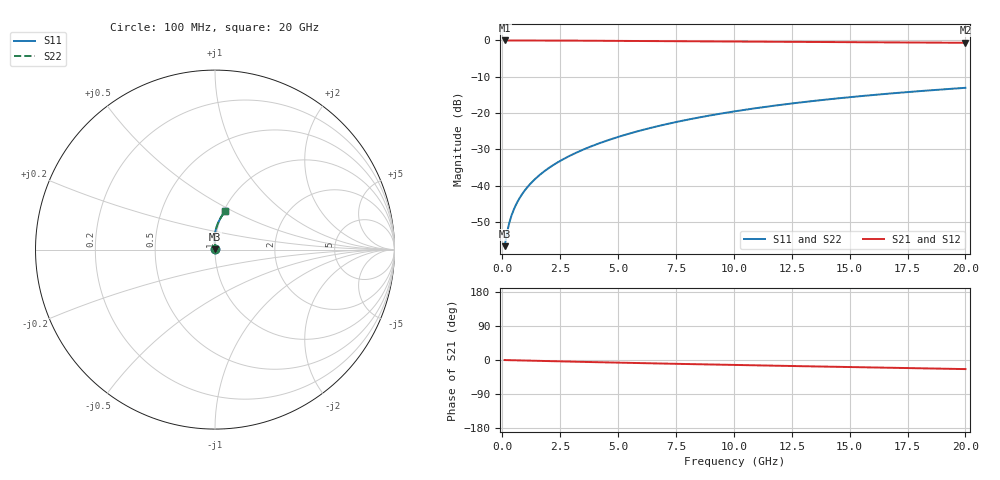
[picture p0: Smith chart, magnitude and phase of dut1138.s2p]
! Touchstone file exported from HFSS 2024.1.0
!  File:  C:/UserFiles/LocalFiles/RDL_TSV_Batchsim/temp_RDL_bottom_1138_1780055538.aedt
!  Generated:  07:54:31 PM May 29, 2026
!  Design:  RDL_bottom
!  Project:  temp_RDL_bottom_1138_1780055538
!  Setup:  Setup1
!  Solution:  Sweep
! Variables:
!  dtsv = 10.80580581um
!  hbump = 3um
!  htsv = 95.48um
!  ldown = 324.03um
!  lrdl = 100um
!  p = 40
!  p1 = 56.03um
!  rhole = 1um
!  t = 450um
!  tdown = 4.46um
!  trdl = 3.915915916um
!  wdown = 28.39um
!  wrdl = 20um
# GHz S MA R 50.000000
! Terminal data exported
! Port[1] = RDL1_T1
! Port[2] = RDL1_T2
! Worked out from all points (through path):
!   200 points, 100 MHz to 20 GHz, reference 50 ohm
!   highest |S21| = -0.01 dB at 100 MHz (marker M1); lowest = -0.7 dB at 20 GHz (marker M2)
!   group delay of S21, straight-line fit = 3.28 ps
!   lowest |S11| = -56.6 dB at 100 MHz (marker M3), VSWR 1.00, Z = 50.1 + j0.0971 ohm
!   |S11| at or under -10 dB: start of sweep to end of sweep
!   |S22| runs from -56.6 to -13.0 dB; largest |S21 - S12| = 3.1e-15
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0.1  0.001474 41.1  0.9989 -0.2  0.9989 -0.2  0.001474 41.1
! Gamma 0 0 0 0
! Port Impedance 50 0 50 0
0.2  0.002239 58.6  0.9988 -0.3  0.9988 -0.3  0.002239 58.6
0.3  0.003073 66.3  0.9987 -0.5  0.9987 -0.5  0.003073 66.3
0.4  0.003908 70.7  0.9986 -0.6  0.9986 -0.6  0.003908 70.7
0.5  0.004735 73.7  0.9985 -0.7  0.9985 -0.7  0.004735 73.7
0.6  0.005558 75.9  0.9984 -0.9  0.9984 -0.9  0.005557 75.9
0.8  0.007202 79.2  0.9982 -1.2  0.9982 -1.2  0.007202 79.1
1.1  0.009697 82.4  0.9978 -1.6  0.9978 -1.6  0.009697 82.4
1.3  0.01139 84.0  0.9975 -1.9  0.9975 -1.9  0.01139 84.0
1.6  0.01396 85.9  0.9969 -2.3  0.9969 -2.3  0.01396 85.9
2.1  0.01836 88.0  0.9958 -3.0  0.9958 -3.0  0.01836 88.0
2.7  0.02383 89.7  0.9942 -3.9  0.9942 -3.9  0.02383 89.7
3.5  0.03149 91.1  0.9916 -5.0  0.9916 -5.0  0.03149 91.1
4.2  0.03853 91.8  0.989 -5.9  0.989 -5.9  0.03853 91.8
5  0.04694 92.2  0.9859 -7.0  0.9859 -7.0  0.04694 92.1
6.8  0.06707 91.6  0.9783 -9.2  0.9783 -9.2  0.06706 91.6
8.4  0.08592 90.2  0.9716 -11.2  0.9716 -11.2  0.08591 90.2
10.1  0.1064 88.2  0.9648 -13.1  0.9648 -13.1  0.1064 88.2
11.7  0.1259 86.1  0.9585 -15.0  0.9585 -15.0  0.1259 86.1
13.4  0.1464 83.8  0.9521 -16.9  0.9521 -16.9  0.1464 83.8
16.7  0.1854 79.2  0.9398 -20.5  0.9398 -20.5  0.1854 79.2
20  0.2227 74.8  0.9277 -24.0  0.9277 -24.0  0.2227 74.8
